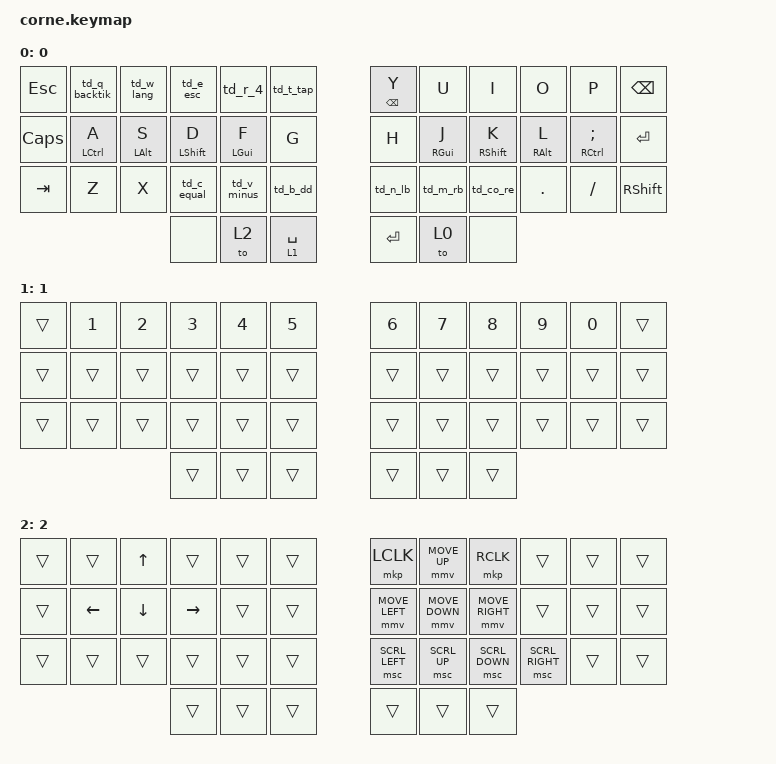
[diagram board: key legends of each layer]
/*
 * Copyright (c) 2020 The ZMK Contributors
 *
 * SPDX-License-Identifier: MIT
 */

#include <behaviors.dtsi>
#include <dt-bindings/zmk/keys.h>
#include <dt-bindings/zmk/pointing.h>

#define DEFAULT_L 0
#define SYMBOLS_L 1
#define ARROWS_L  2
#define NUMBERS_L 3

/ {
    behaviors {
        hm: homerow_mods {
            compatible = "zmk,behavior-hold-tap";
            label = "HOMEROW_MODS";
            #binding-cells = <2>;
            tapping-term-ms = <300>;
            quick-tap-ms = <200>;
            flavor = "tap-preferred";
            bindings = <&kp>, <&kp>;
        };

        td_e_esc: td_e_esc {
            compatible = "zmk,behavior-tap-dance";
            label = "TD_E_ESC";
            #binding-cells = <0>;
            bindings = <&kp E>, <&kp ESCAPE>;
        };

        td_w_lang: td_w_lang {
            compatible = "zmk,behavior-tap-dance";
            label = "TD_W_LANG";
            #binding-cells = <0>;
            bindings = <&kp W>, <&kp F19>;
        };

        td_t_tap: td_t_tap {
            compatible = "zmk,behavior-tap-dance";
            label = "TD_T_TAP";
            #binding-cells = <0>;
            bindings = <&kp T>, <&kp TAB>;
        };

        td_r_4: td_r_4 {
            compatible = "zmk,behavior-tap-dance";
            label = "TD_R_4";
            #binding-cells = <0>;
            bindings = <&kp R>, <&kp NUMBER_4>;
        };

        td_q_backtik: td_q_backtik {
            compatible = "zmk,behavior-tap-dance";
            label = "TD_Q_BACKTIK";
            #binding-cells = <0>;
            bindings = <&kp Q>, <&kp GRAVE>;
        };

        td_minus_equal: td_minus_equal {
            compatible = "zmk,behavior-tap-dance";
            label = "TD_MINUS_EQUAL";
            #binding-cells = <0>;
            bindings = <&kp MINUS>, <&kp EQUAL>;
        };

        td_bracket: td_bracket {
            compatible = "zmk,behavior-tap-dance";
            label = "TD_BRACKET";
            #binding-cells = <0>;
            bindings = <&kp LEFT_BRACKET>, <&kp RIGHT_BRACKET>;
        };

        td_b_dd: td_b_dd {
            compatible = "zmk,behavior-tap-dance";
            label = "TD_B_DD";
            #binding-cells = <0>;
            bindings = <&kp B>, <&kp SINGLE_QUOTE>;
        };

        td_v_minus: td_v_minus {
            compatible = "zmk,behavior-tap-dance";
            label = "TD_V_MINUS";
            #binding-cells = <0>;
            bindings = <&kp V>, <&kp MINUS>;
        };

        td_c_equal: td_c_equal {
            compatible = "zmk,behavior-tap-dance";
            label = "TD_C_EQUAL";
            #binding-cells = <0>;
            bindings = <&kp C>, <&kp EQUAL>;
        };

        td_n_lb: td_n_lb {
            compatible = "zmk,behavior-tap-dance";
            label = "TD_N_LB";
            #binding-cells = <0>;
            bindings = <&kp N>, <&kp LEFT_BRACKET>;
        };

        td_m_rb: td_m_rb {
            compatible = "zmk,behavior-tap-dance";
            label = "TD_M_RB";
            #binding-cells = <0>;
            bindings = <&kp M>, <&kp RIGHT_BRACKET>;
        };

        td_co_re: td_co_re {
            compatible = "zmk,behavior-tap-dance";
            label = "TD_CO_RE";
            #binding-cells = <0>;
            bindings = <&kp COMMA>, <&kp BACKSLASH>;
        };
    };

    combos {
        compatible = "zmk,combos";

        h {
            bindings = <&sys_reset>;
            key-positions = <1 29>;
        };

        j {
            bindings = <&sys_reset>;
            key-positions = <30 10>;
        };
    };

    keymap {
        compatible = "zmk,keymap";

        default_layer {
            label = "0";
            bindings = <
&kp ESC       &td_q_backtik  &td_w_lang      &td_e_esc         &td_r_4         &td_t_tap      &mt BACKSPACE Y  &kp U            &kp I              &kp O            &kp P           &kp BSPC
&kp CAPSLOCK  &hm LCTRL A    &hm LEFT_ALT S  &hm LEFT_SHIFT D  &hm LEFT_GUI F  &kp G          &kp H            &hm RIGHT_GUI J  &hm RIGHT_SHIFT K  &hm RIGHT_ALT L  &hm RCTRL SEMI  &kp RET
&kp TAB       &kp Z          &kp X           &td_c_equal       &td_v_minus     &td_b_dd       &td_n_lb         &td_m_rb         &td_co_re          &kp DOT          &kp FSLH        &kp RSHFT
                                             &none             &to 2           &lt 1 SPACE    &kp ENTER        &to 0            &none
            >;
        };

        number_layer {
            label = "1";
            bindings = <
&trans  &kp N1  &kp N2  &kp N3  &kp N4  &kp N5    &kp N6  &kp N7  &kp N8  &kp N9  &kp N0  &trans
&trans  &trans  &trans  &trans  &trans  &trans    &trans  &trans  &trans  &trans  &trans  &trans
&trans  &trans  &trans  &trans  &trans  &trans    &trans  &trans  &trans  &trans  &trans  &trans
                        &trans  &trans  &trans    &trans  &trans  &trans
            >;
        };

        arrow_layer {
            label = "2 ";
            bindings = <
&trans  &trans          &kp UP_ARROW    &trans     &trans  &trans    &mkp LCLK       &mmv MOVE_UP    &mkp RCLK        &trans           &trans  &trans
&trans  &kp LEFT_ARROW  &kp DOWN_ARROW  &kp RIGHT  &trans  &trans    &mmv MOVE_LEFT  &mmv MOVE_DOWN  &mmv MOVE_RIGHT  &trans           &trans  &trans
&trans  &trans          &trans          &trans     &trans  &trans    &msc SCRL_LEFT  &msc SCRL_UP    &msc SCRL_DOWN   &msc SCRL_RIGHT  &trans  &trans
                                        &trans     &trans  &trans    &trans          &trans          &trans
            >;
        };
    };
};
